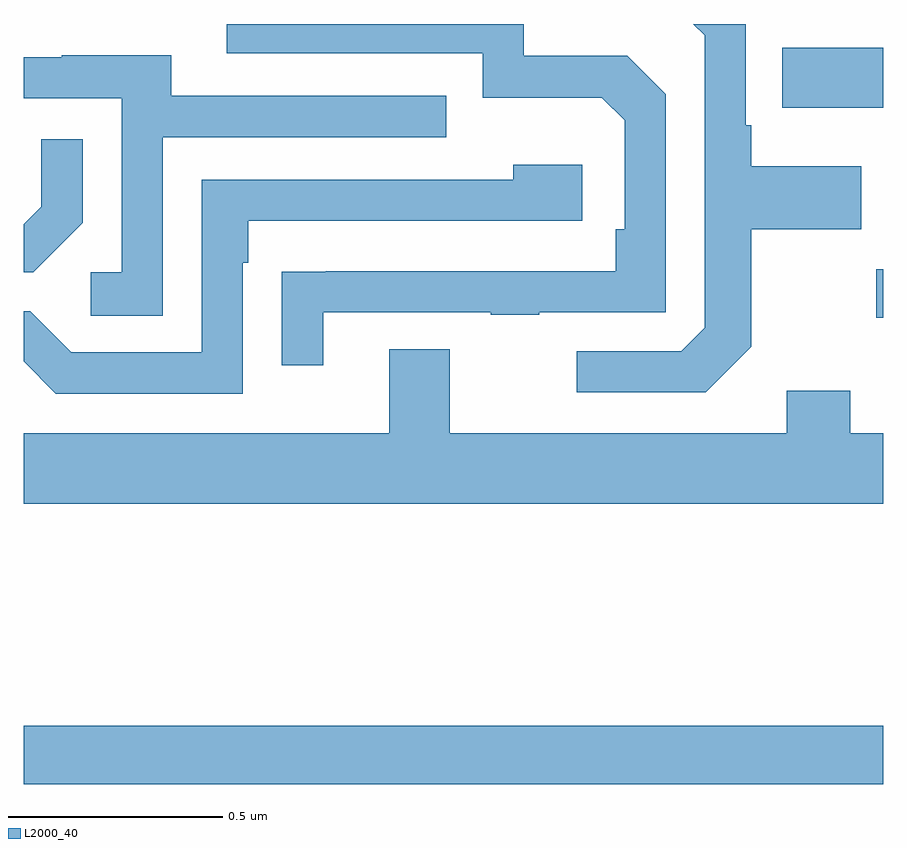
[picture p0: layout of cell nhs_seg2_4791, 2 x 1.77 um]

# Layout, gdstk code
import gdstk
lib = gdstk.Library(unit=1e-6, precision=1e-09)
def R(c, l, rs):  # rectangles x0, y0, x1, y1
    for r in rs: c.add(gdstk.rectangle(r[:2], r[2:], *l))
def P(c, l, *ps):  # polygons
    for p in ps: c.add(gdstk.Polygon(p, *l))
L2000_40 = (2000, 40)

nhs_seg2_4791 = lib.new_cell('nhs_seg2_4791')
R(nhs_seg2_4791, L2000_40, [(171,599.032,173,599.168), (172.983,600.117,173,600.23), (172.765,600.605,173,600.745)])
P(nhs_seg2_4791, L2000_40, [(171.697,600.129),(172.087,600.129),(172.087,600.124),(172.199,600.124),(172.199,600.129),(172.494,600.129),(172.494,600.636),(172.404,600.726),(172.164,600.726),(172.164,600.8),(171.473,600.8),(171.473,600.732),(172.068,600.732),(172.068,600.629),(172.345,600.629),(172.398,600.576),(172.398,600.322),(172.378,600.322),(172.378,600.225),(171.703,600.225),(171.703,600.224),(171.601,600.224),(171.601,600.006),(171.697,600.006)],
  [(172.693,600.049),(172.693,600.322),(172.949,600.322),(172.949,600.469),(172.693,600.469),(172.693,600.565),(172.68,600.565),(172.68,600.8),(172.558,600.8),(172.584,600.774),(172.584,600.093),(172.53,600.039),(172.287,600.039),(172.287,599.943),(172.587,599.943)],
  [(171.324,600.537),(171.983,600.537),(171.983,600.633),(171.343,600.633),(171.343,600.727),(171.089,600.727),(171.089,600.723),(171,600.723),(171,600.627),(171.228,600.627),(171.228,600.222),(171.156,600.222),(171.156,600.121),(171.324,600.121)],
  [(171.138,600.338),(171.138,600.532),(171.041,600.532),(171.041,600.375),(171,600.334),(171,600.222),(171.022,600.222)],
  [(171.51,600.245),(171.523,600.245),(171.523,600.342),(172.3,600.342),(172.3,600.472),(172.139,600.472),(172.139,600.438),(171.414,600.438),(171.414,600.036),(171.111,600.036),(171.015,600.132),(171,600.132),(171,600.015),(171.075,599.94),(171.51,599.94)],
  [(173,599.848),(172.923,599.848),(172.923,599.947),(172.775,599.947),(172.775,599.848),(171.991,599.848),(171.991,600.043),(171.851,600.043),(171.851,599.848),(171,599.848),(171,599.684),(173,599.684)])

lib.write_gds('nhs_seg2_4791.gds')
